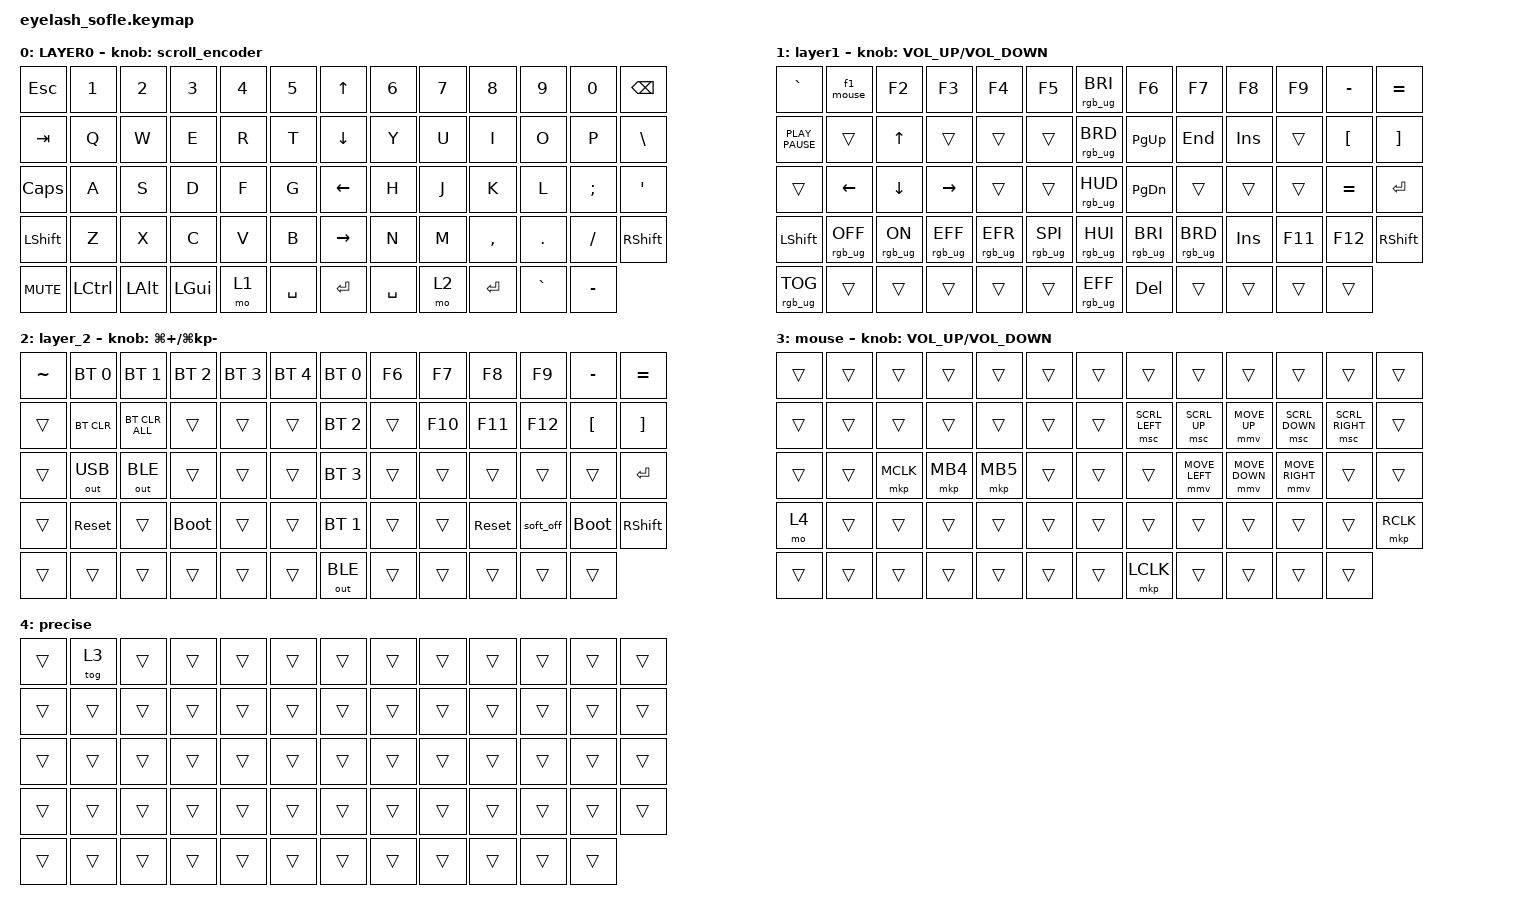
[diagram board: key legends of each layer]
#define ZMK_POINTING_DEFAULT_MOVE_VAL 1200  // 600
#define ZMK_POINTING_DEFAULT_SCRL_VAL 25   // 10

#include <input/processors.dtsi>
#include <zephyr/dt-bindings/input/input-event-codes.h>
#include <behaviors.dtsi>
#include <dt-bindings/zmk/bt.h>
#include <dt-bindings/zmk/keys.h>
#include <dt-bindings/zmk/outputs.h>
#include <dt-bindings/zmk/pointing.h>
#include <dt-bindings/zmk/rgb.h>

&mmv_input_listener {
    input-processors = <&zip_xy_scaler 2 1>;

    precision {
        layers = <4>;
        input-processors = <&zip_xy_scaler 1 2>;  // 1/4 of normal speed
    };
};

&msc_input_listener { input-processors = <&zip_scroll_scaler 1 2>; };

&msc {
    acceleration-exponent = <1>;      // 0
    time-to-max-speed-ms = <100>;       // 300
    delay-ms = <0>;                   // 0
};

&mmv {
    time-to-max-speed-ms = <500>;
    acceleration-exponent = <1>;
    trigger-period-ms = <16>;
};

/ {
    scroll_encoder: scroll_encoder {
        compatible = "zmk,behavior-sensor-rotate";
        #sensor-binding-cells = <0>;
        bindings = <&msc SCRL_DOWN>, <&msc SCRL_UP>;

        tap-ms = <100>;
    };

    behaviors {
        // On layer 1, the 1 key: F1, or toggle the mouse layer (3) when shift is held.
        f1_mouse: f1_mouse {
            compatible = "zmk,behavior-mod-morph";
            #binding-cells = <0>;
            bindings = <&kp F1>, <&tog 3>;
            mods = <(MOD_LSFT|MOD_RSFT)>;
        };
    };

    keymap {
        compatible = "zmk,keymap";

        layer0 {
            bindings = <
&kp ESC     &kp N1     &kp N2        &kp N3        &kp N4  &kp N5       &kp UP_ARROW    &kp N6     &kp N7  &kp N8     &kp N9     &kp N0         &kp BACKSPACE
&kp TAB     &kp Q      &kp W         &kp E         &kp R   &kp T        &kp DOWN        &kp Y      &kp U   &kp I      &kp O      &kp P          &kp BACKSLASH
&kp CAPS    &kp A      &kp S         &kp D         &kp F   &kp G        &kp LEFT_ARROW  &kp H      &kp J   &kp K      &kp L      &kp SEMICOLON  &kp SINGLE_QUOTE
&kp LSHFT   &kp Z      &kp X         &kp C         &kp V   &kp B        &kp RIGHT       &kp N      &kp M   &kp COMMA  &kp DOT    &kp FSLH       &kp RSHIFT
&kp C_MUTE  &kp LCTRL  &kp LEFT_ALT  &kp LEFT_GUI  &mo 1   &kp SPACE    &kp ENTER       &kp SPACE  &mo 2   &kp RET    &kp GRAVE  &kp MINUS
            >;

            sensor-bindings = <&scroll_encoder>;
            display-name = "LAYER0";
        };

        layer_1 {
            bindings = <
&kp GRAVE         &f1_mouse        &kp F2          &kp F3           &kp F4           &kp F5             &rgb_ug RGB_BRI  &kp F6           &kp F7           &kp F8      &kp F9   &kp MINUS         &kp EQUAL
&kp K_PLAY_PAUSE  &trans           &kp UP_ARROW    &trans           &trans           &trans             &rgb_ug RGB_BRD  &kp PG_UP        &kp END          &kp INS     &trans   &kp LEFT_BRACKET  &kp RIGHT_BRACKET
&trans            &kp LEFT         &kp DOWN        &kp RIGHT        &trans           &trans             &rgb_ug RGB_HUD  &kp PG_DN        &trans           &trans      &trans   &kp EQUAL         &kp RETURN
&kp LSHFT         &rgb_ug RGB_OFF  &rgb_ug RGB_ON  &rgb_ug RGB_EFF  &rgb_ug RGB_EFR  &rgb_ug RGB_SPI    &rgb_ug RGB_HUI  &rgb_ug RGB_BRI  &rgb_ug RGB_BRD  &kp INSERT  &kp F11  &kp F12           &kp RSHFT
&rgb_ug RGB_TOG   &trans           &trans          &trans           &trans           &trans             &rgb_ug RGB_EFF  &kp DELETE       &trans           &trans      &trans   &trans
            >;

            display-name = "layer1";
            sensor-bindings = <&inc_dec_kp K_VOLUME_UP K_VOLUME_DOWN>;
        };

        layer_2 {
            bindings = <
&kp TILDE  &bt BT_SEL 0  &bt BT_SEL 1    &bt BT_SEL 2  &bt BT_SEL 3  &bt BT_SEL 4    &bt BT_SEL 0  &kp F6  &kp F7   &kp F8      &kp F9     &kp MINUS         &kp EQUAL
&trans     &bt BT_CLR    &bt BT_CLR_ALL  &trans        &trans        &trans          &bt BT_SEL 2  &trans  &kp F10  &kp F11     &kp F12    &kp LEFT_BRACKET  &kp RIGHT_BRACKET
&trans     &out OUT_USB  &out OUT_BLE    &trans        &trans        &trans          &bt BT_SEL 3  &trans  &trans   &trans      &trans     &trans            &kp RETURN
&trans     &sys_reset    &trans          &bootloader   &trans        &trans          &bt BT_SEL 1  &trans  &trans   &sys_reset  &soft_off  &bootloader       &kp RIGHT_SHIFT
&trans     &trans        &trans          &trans        &trans        &trans          &out OUT_BLE  &trans  &trans   &trans      &trans     &trans
            >;

            sensor-bindings = <&inc_dec_kp LG(PLUS) LG(KP_MINUS)>;
        };

        layer_3 {
            // Mouse layer: on with layer 1 + shift + 1 (f1_mouse); off with left shift + 1 (layer 4).
            // Move: I/J/K/L. Clicks: right space=left, right shift=right, S=middle, D=back(MB4), F=forward(MB5).
            // Scroll: U/O vertical, Y/P horizontal, plus the encoder. Hold left shift for precision (layer 4).
            bindings = <
&trans     &trans     &trans     &trans     &trans     &trans     &trans       &trans          &trans          &trans          &trans          &trans          &trans
&trans     &trans     &trans     &trans     &trans     &trans     &trans       &msc SCRL_LEFT  &msc SCRL_UP    &mmv MOVE_UP    &msc SCRL_DOWN  &msc SCRL_RIGHT &trans
&trans     &trans     &mkp MCLK  &mkp MB4   &mkp MB5   &trans     &trans       &trans          &mmv MOVE_LEFT  &mmv MOVE_DOWN  &mmv MOVE_RIGHT &trans          &trans
&mo 4      &trans     &trans     &trans     &trans     &trans     &trans       &trans          &trans          &trans          &trans          &trans          &mkp RCLK
&trans     &trans     &trans     &trans     &trans     &trans     &trans       &mkp LCLK       &trans          &trans          &trans          &trans
            >;

            display-name = "mouse";
            sensor-bindings = <&inc_dec_kp K_VOLUME_UP K_VOLUME_DOWN>;
        };

        layer_4 {
            // Precision mouse: held from left shift on layer 3; slows movement via mmv_input_listener.
            // The 1 key here turns the mouse layer off, since left shift no longer sends shift on layer 3.
            bindings = <
&trans  &tog 3  &trans  &trans  &trans  &trans  &trans  &trans  &trans  &trans  &trans  &trans  &trans
&trans  &trans  &trans  &trans  &trans  &trans  &trans  &trans  &trans  &trans  &trans  &trans  &trans
&trans  &trans  &trans  &trans  &trans  &trans  &trans  &trans  &trans  &trans  &trans  &trans  &trans
&trans  &trans  &trans  &trans  &trans  &trans  &trans  &trans  &trans  &trans  &trans  &trans  &trans
&trans  &trans  &trans  &trans  &trans  &trans  &trans  &trans  &trans  &trans  &trans  &trans
            >;

            display-name = "precise";
        };
    };
};
